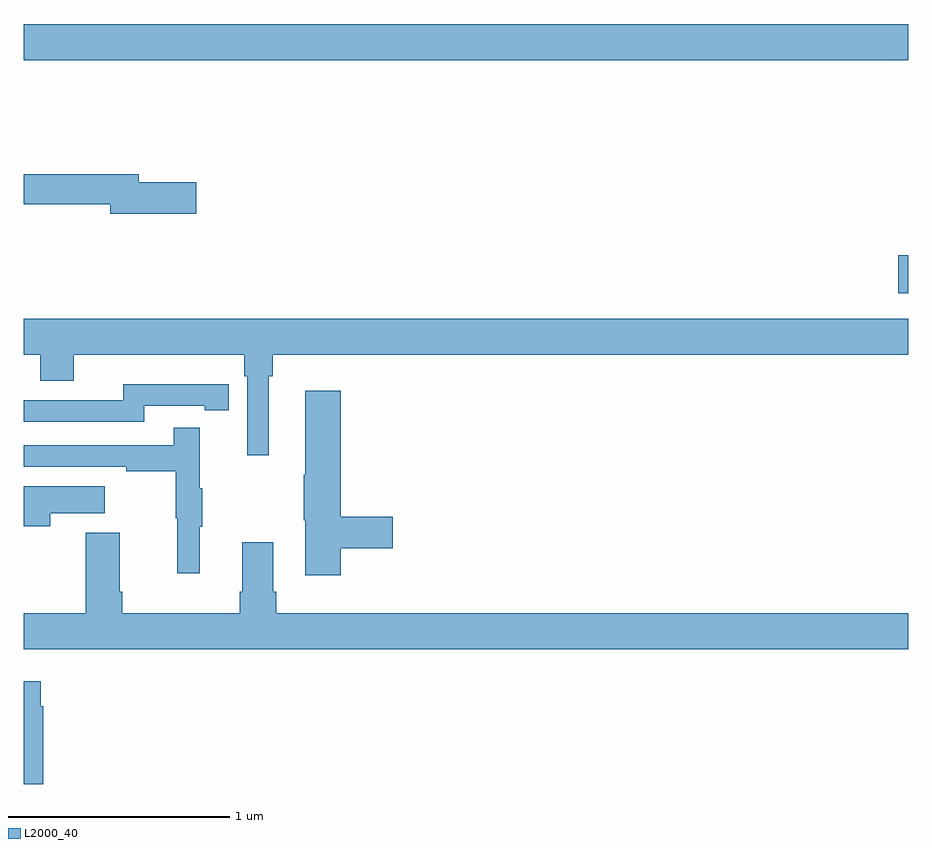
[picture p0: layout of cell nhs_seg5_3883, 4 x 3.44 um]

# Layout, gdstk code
import gdstk
lib = gdstk.Library(unit=1e-6, precision=1e-09)
def R(c, l, rs):  # rectangles x0, y0, x1, y1
    for r in rs: c.add(gdstk.rectangle(r[:2], r[2:], *l))
def P(c, l, *ps):  # polygons
    for p in ps: c.add(gdstk.Polygon(p, *l))
L2000_40 = (2000, 40)

nhs_seg5_3883 = lib.new_cell('nhs_seg5_3883')
R(nhs_seg5_3883, L2000_40, [(342.954,877.019,343,877.19), (339,878.072,343,878.236)])
P(nhs_seg5_3883, L2000_40, [(339.781,877.52),(339.52,877.52),(339.52,877.556),(339,877.556),(339,877.42),(339.392,877.42),(339.392,877.378),(339.781,877.378)],
  [(340.108,876.644),(340.127,876.644),(340.127,876.74),(343,876.74),(343,876.904),(339,876.904),(339,876.74),(339.074,876.74),(339.074,876.623),(339.226,876.623),(339.226,876.74),(339.998,876.74),(339.998,876.644),(340.011,876.644),(340.011,876.285),(340.108,876.285)],
  [(339.546,876.51),(339.818,876.51),(339.818,876.49),(339.926,876.49),(339.926,876.606),(339.818,876.606),(339.818,876.607),(339.45,876.607),(339.45,876.534),(339,876.534),(339,876.438),(339.546,876.438)],
  [(340.433,875.866),(340.669,875.866),(340.669,876.008),(340.433,876.008),(340.433,876.577),(340.274,876.577),(340.274,876.197),(340.267,876.197),(340.267,875.991),(340.274,875.991),(340.274,875.742),(340.433,875.742)],
  [(339.797,875.963),(339.808,875.963),(339.808,876.137),(339.797,876.137),(339.797,876.409),(339.679,876.409),(339.679,876.33),(339,876.33),(339,876.234),(339.463,876.234),(339.463,876.214),(339.687,876.214),(339.687,876),(339.694,876),(339.694,875.751),(339.797,875.751)],
  [(339.119,876.023),(339.367,876.023),(339.367,876.145),(339,876.145),(339,875.964),(339.119,875.964)],
  [(343,875.572),(340.142,875.572),(340.142,875.668),(340.129,875.668),(340.129,875.893),(339.989,875.893),(339.989,875.668),(339.977,875.668),(339.977,875.572),(339.446,875.572),(339.446,875.668),(339.433,875.668),(339.433,875.935),(339.281,875.935),(339.281,875.572),(339,875.572),(339,875.408),(343,875.408)],
  [(339.089,875.15),(339.076,875.15),(339.076,875.263),(339,875.263),(339,874.799),(339.089,874.799)])

lib.write_gds('nhs_seg5_3883.gds')
